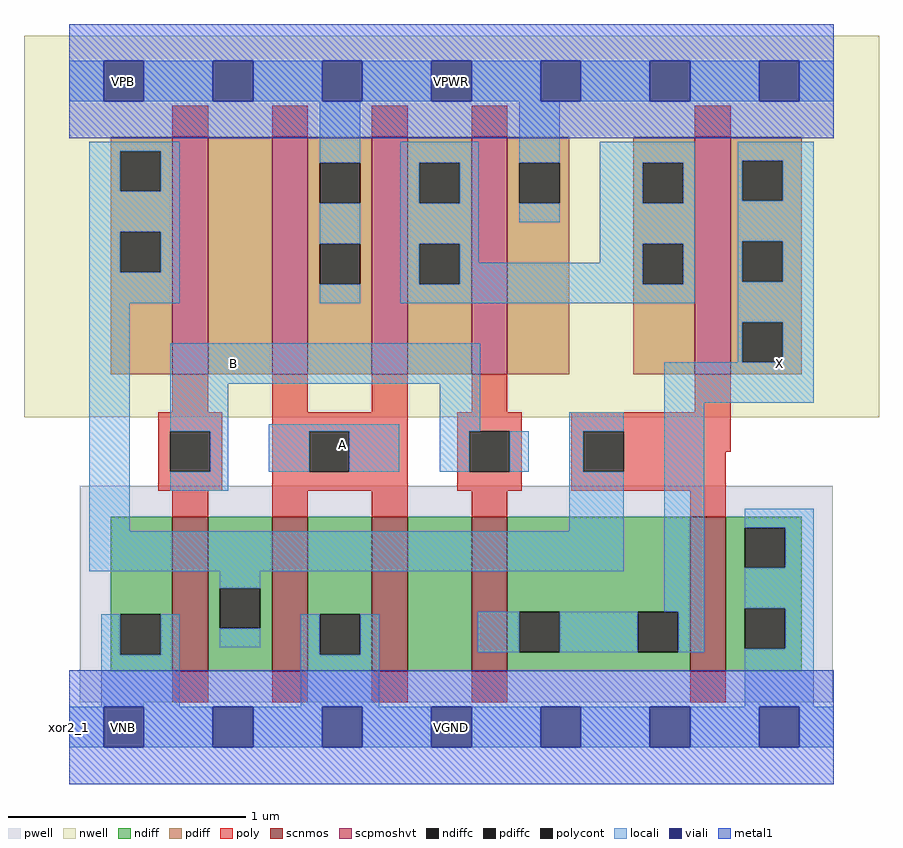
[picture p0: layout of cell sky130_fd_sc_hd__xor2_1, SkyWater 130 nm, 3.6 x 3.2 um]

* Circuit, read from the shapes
.subckt sky130_fd_sc_hd__xor2_1 A B VGND VNB VPB VPWR X
XM1 n1 B VGND VNB sky130_fd_pr__nfet_01v8 w=0.65 l=0.15
XM2 VGND A n1 VNB sky130_fd_pr__nfet_01v8 w=0.65 l=0.15
XM3 n2 A VGND VNB sky130_fd_pr__nfet_01v8 w=0.65 l=0.15
XM4 X B n2 VNB sky130_fd_pr__nfet_01v8 w=0.65 l=0.15
XM5 VGND n1 X VNB sky130_fd_pr__nfet_01v8 w=0.65 l=0.15
XM6 n3 B n1 VPB sky130_fd_pr__pfet_01v8_hvt w=1 l=0.15
XM7 VPWR A n3 VPB sky130_fd_pr__pfet_01v8_hvt w=1 l=0.15
XM8 n4 A VPWR VPB sky130_fd_pr__pfet_01v8_hvt w=1 l=0.15
XM9 VPWR B n4 VPB sky130_fd_pr__pfet_01v8_hvt w=1 l=0.15
XM10 X n1 n4 VPB sky130_fd_pr__pfet_01v8_hvt w=1 l=0.15
.ends

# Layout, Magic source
magic
tech sky130A
magscale 1 2
<< nwell >>
rect -38 261 682 582
<< pwell >>
rect 9 21 643 203
rect 29 -17 63 21
<< scnmos >>
rect 87 47 117 177
rect 171 47 201 177
rect 255 47 285 177
rect 339 47 369 177
rect 523 47 553 177
<< scpmoshvt >>
rect 87 297 117 497
rect 171 297 201 497
rect 255 297 285 497
rect 339 297 369 497
rect 527 297 557 497
<< ndiff >>
rect 35 95 87 177
rect 35 61 43 95
rect 77 61 87 95
rect 35 47 87 61
rect 117 117 171 177
rect 117 83 127 117
rect 161 83 171 117
rect 117 47 171 83
rect 201 95 255 177
rect 201 61 211 95
rect 245 61 255 95
rect 201 47 255 61
rect 285 47 339 177
rect 369 97 523 177
rect 369 63 379 97
rect 413 63 479 97
rect 513 63 523 97
rect 369 47 523 63
rect 553 168 617 177
rect 553 134 569 168
rect 603 134 617 168
rect 553 100 617 134
rect 553 66 569 100
rect 603 66 617 100
rect 553 47 617 66
<< pdiff >>
rect 35 485 87 497
rect 35 451 43 485
rect 77 451 87 485
rect 35 417 87 451
rect 35 383 43 417
rect 77 383 87 417
rect 35 297 87 383
rect 117 297 171 497
rect 201 475 255 497
rect 201 441 211 475
rect 245 441 255 475
rect 201 407 255 441
rect 201 373 211 407
rect 245 373 255 407
rect 201 297 255 373
rect 285 475 339 497
rect 285 441 295 475
rect 329 441 339 475
rect 285 407 339 441
rect 285 373 295 407
rect 329 373 339 407
rect 285 297 339 373
rect 369 475 421 497
rect 369 441 379 475
rect 413 441 421 475
rect 369 297 421 441
rect 475 475 527 497
rect 475 441 483 475
rect 517 441 527 475
rect 475 407 527 441
rect 475 373 483 407
rect 517 373 527 407
rect 475 297 527 373
rect 557 477 617 497
rect 557 443 567 477
rect 601 443 617 477
rect 557 409 617 443
rect 557 375 567 409
rect 601 375 617 409
rect 557 341 617 375
rect 557 307 567 341
rect 601 307 617 341
rect 557 297 617 307
<< ndiffc >>
rect 43 61 77 95
rect 127 83 161 117
rect 211 61 245 95
rect 379 63 413 97
rect 479 63 513 97
rect 569 134 603 168
rect 569 66 603 100
<< pdiffc >>
rect 43 451 77 485
rect 43 383 77 417
rect 211 441 245 475
rect 211 373 245 407
rect 295 441 329 475
rect 295 373 329 407
rect 379 441 413 475
rect 483 441 517 475
rect 483 373 517 407
rect 567 443 601 477
rect 567 375 601 409
rect 567 307 601 341
<< poly >>
rect 87 497 117 523
rect 171 497 201 523
rect 255 497 285 523
rect 339 497 369 523
rect 527 497 557 523
rect 87 265 117 297
rect 171 265 201 297
rect 255 265 285 297
rect 339 265 369 297
rect 527 265 557 297
rect 75 249 129 265
rect 75 215 85 249
rect 119 215 129 249
rect 75 199 129 215
rect 171 249 285 265
rect 171 215 202 249
rect 236 215 285 249
rect 171 199 285 215
rect 327 249 381 265
rect 327 215 337 249
rect 371 215 381 249
rect 327 199 381 215
rect 423 249 557 265
rect 423 215 433 249
rect 467 232 557 249
rect 467 215 553 232
rect 423 199 553 215
rect 87 177 117 199
rect 171 177 201 199
rect 255 177 285 199
rect 339 177 369 199
rect 523 177 553 199
rect 87 21 117 47
rect 171 21 201 47
rect 255 21 285 47
rect 339 21 369 47
rect 523 21 553 47
<< polycont >>
rect 85 215 119 249
rect 202 215 236 249
rect 337 215 371 249
rect 433 215 467 249
<< locali >>
rect 0 527 29 561
rect 63 527 121 561
rect 155 527 213 561
rect 247 527 305 561
rect 339 527 397 561
rect 431 527 489 561
rect 523 527 581 561
rect 615 527 644 561
rect 17 485 93 493
rect 17 451 43 485
rect 77 451 93 485
rect 17 417 93 451
rect 17 383 43 417
rect 77 383 93 417
rect 17 357 93 383
rect 211 475 245 527
rect 211 407 245 441
rect 211 357 245 373
rect 279 475 345 493
rect 279 441 295 475
rect 329 441 345 475
rect 279 407 345 441
rect 379 475 413 527
rect 379 425 413 441
rect 447 475 527 493
rect 447 441 483 475
rect 517 441 527 475
rect 279 373 295 407
rect 329 391 345 407
rect 447 407 527 441
rect 447 391 483 407
rect 329 373 483 391
rect 517 373 527 407
rect 279 357 527 373
rect 563 477 627 493
rect 563 443 567 477
rect 601 443 627 477
rect 563 409 627 443
rect 563 375 567 409
rect 601 375 627 409
rect 17 165 51 357
rect 563 341 627 375
rect 85 289 346 323
rect 563 307 567 341
rect 601 307 627 341
rect 85 249 134 289
rect 119 215 134 249
rect 168 249 278 255
rect 168 215 202 249
rect 236 215 278 249
rect 312 249 346 289
rect 501 273 627 307
rect 421 249 467 265
rect 312 215 337 249
rect 371 215 387 249
rect 421 215 433 249
rect 85 199 134 215
rect 421 165 467 215
rect 17 131 467 165
rect 127 117 161 131
rect 27 61 43 95
rect 77 61 93 95
rect 501 97 535 273
rect 127 67 161 83
rect 27 17 93 61
rect 195 61 211 95
rect 245 61 261 95
rect 344 63 379 97
rect 413 63 479 97
rect 513 63 535 97
rect 569 168 627 184
rect 603 134 627 168
rect 569 100 627 134
rect 603 66 627 100
rect 195 17 261 61
rect 569 17 627 66
rect 0 -17 29 17
rect 63 -17 121 17
rect 155 -17 213 17
rect 247 -17 305 17
rect 339 -17 397 17
rect 431 -17 489 17
rect 523 -17 581 17
rect 615 -17 644 17
<< viali >>
rect 29 527 63 561
rect 121 527 155 561
rect 213 527 247 561
rect 305 527 339 561
rect 397 527 431 561
rect 489 527 523 561
rect 581 527 615 561
rect 29 -17 63 17
rect 121 -17 155 17
rect 213 -17 247 17
rect 305 -17 339 17
rect 397 -17 431 17
rect 489 -17 523 17
rect 581 -17 615 17
<< metal1 >>
rect 0 561 644 592
rect 0 527 29 561
rect 63 527 121 561
rect 155 527 213 561
rect 247 527 305 561
rect 339 527 397 561
rect 431 527 489 561
rect 523 527 581 561
rect 615 527 644 561
rect 0 496 644 527
rect 0 17 644 48
rect 0 -17 29 17
rect 63 -17 121 17
rect 155 -17 213 17
rect 247 -17 305 17
rect 339 -17 397 17
rect 431 -17 489 17
rect 523 -17 581 17
rect 615 -17 644 17
rect 0 -48 644 -17
<< labels >>
flabel locali s 121 289 155 323 0 FreeSans 200 0 0 0 B
port 2 nsew signal input
flabel locali s 581 289 615 323 0 FreeSans 200 0 0 0 X
port 7 nsew signal output
flabel locali s 213 221 247 255 0 FreeSans 200 0 0 0 A
port 1 nsew signal input
flabel pwell s 29 -17 63 17 0 FreeSans 200 0 0 0 VNB
port 4 nsew ground bidirectional
flabel nwell s 29 527 63 561 0 FreeSans 200 0 0 0 VPB
port 5 nsew power bidirectional
flabel metal1 s 29 527 63 561 0 FreeSans 200 0 0 0 VPWR
port 6 nsew power bidirectional abutment
flabel metal1 s 29 -17 63 17 0 FreeSans 200 0 0 0 VGND
port 3 nsew ground bidirectional abutment
rlabel comment s 0 0 0 0 4 xor2_1
rlabel metal1 s 0 -48 644 48 1 VGND
port 3 nsew ground bidirectional abutment
rlabel metal1 s 0 496 644 592 1 VPWR
port 6 nsew power bidirectional abutment
<< properties >>
string FIXED_BBOX 0 0 644 544
string GDS_END 567022
string GDS_FILE $PDKPATH/libs.ref/sky130_fd_sc_hd/gds/sky130_fd_sc_hd.gds
string GDS_START 561640
string LEFclass CORE
string LEFsite unithd
string LEFsymmetry X Y R90
string path 0.000 2.720 3.220 2.720 
<< end >>
